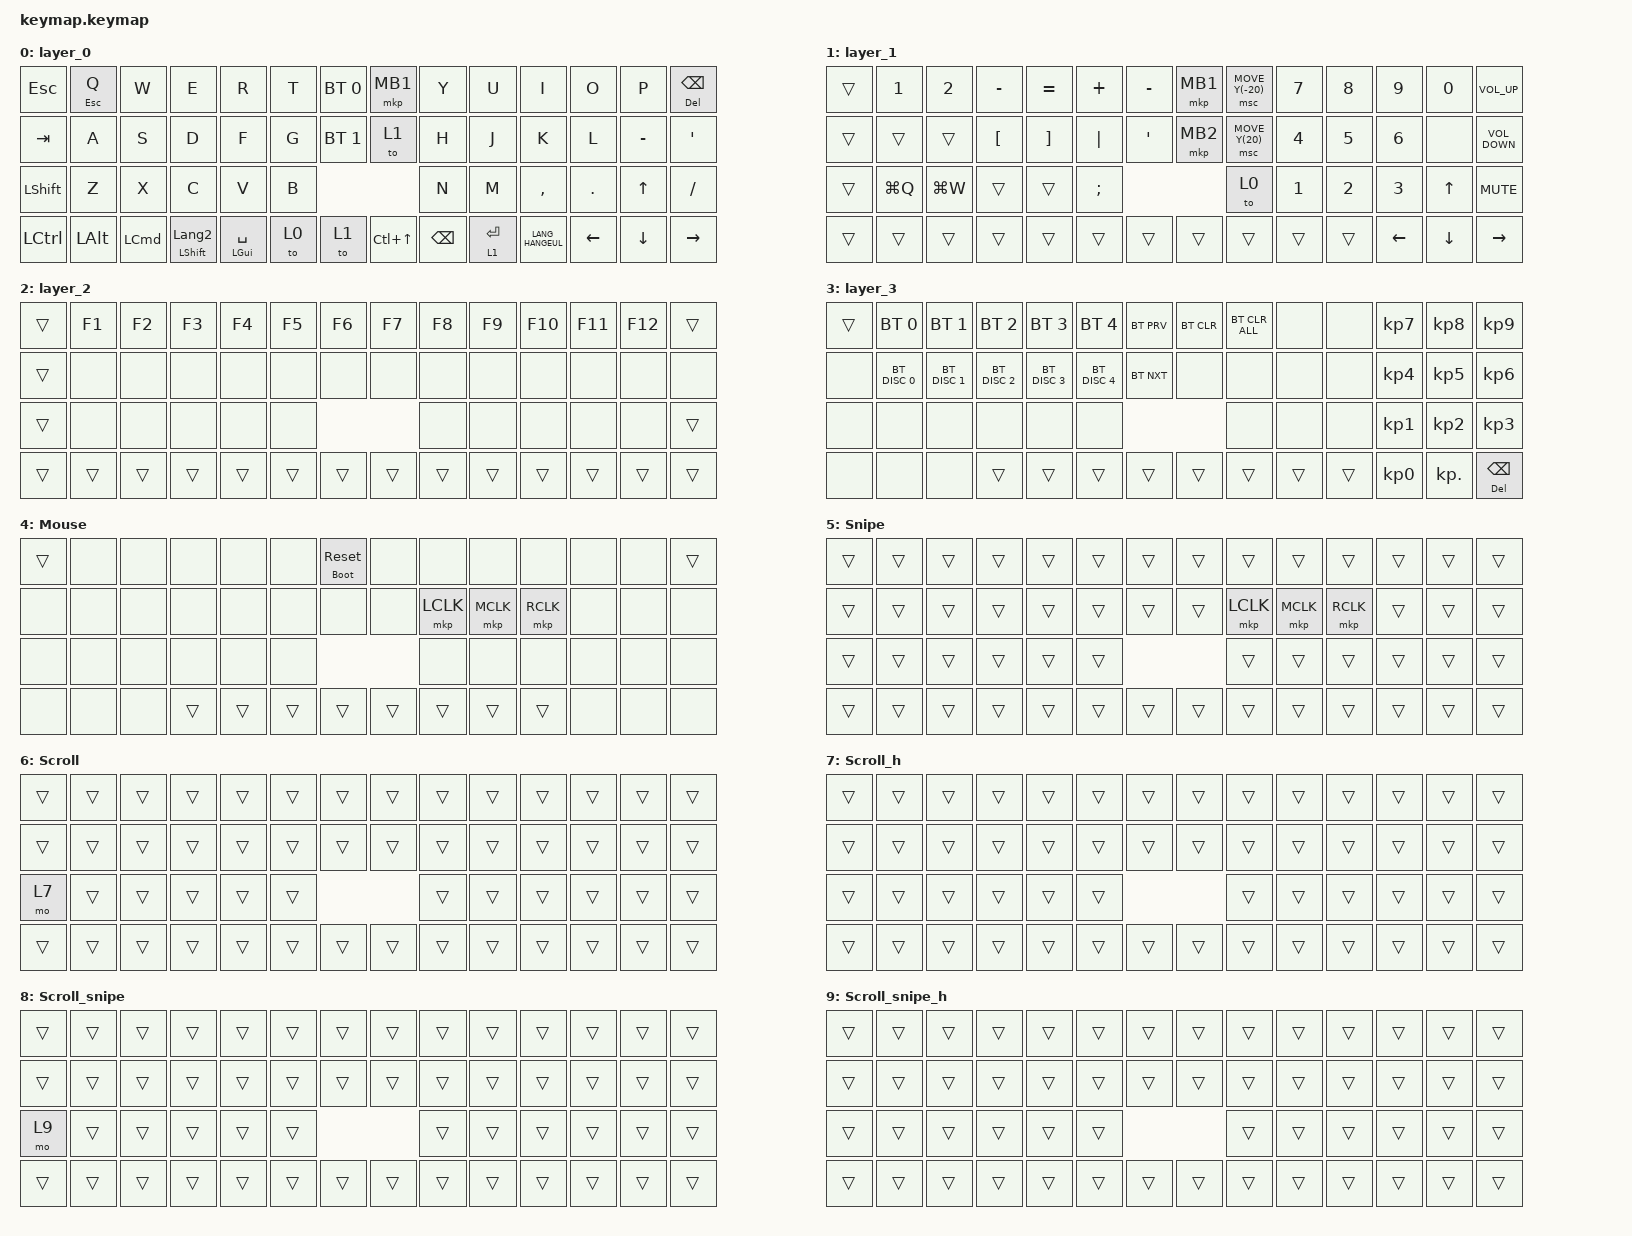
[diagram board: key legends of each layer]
#include <behaviors.dtsi>
#include <dt-bindings/zmk/bt.h>
#include <dt-bindings/zmk/keys.h>
#include <dt-bindings/zmk/pointing.h>

/ {
    behaviors {
        ht_boot_reset: ht_boot_reset {
            compatible = "zmk,behavior-hold-tap";
            label = "HT_BOOT_RESET";
            bindings = <&bootloader>, <&sys_reset>;

            #binding-cells = <2>;
            tapping-term-ms = <1000>;
        };
    };

    combos {
        compatible = "zmk,combos";

        Scroll {
            bindings = <&to 6>;
            key-positions = <50 44>;
        };

        Scroll_snip {
            bindings = <&to 8>;
            key-positions = <50 46>;
        };
    };

    keymap {
        compatible = "zmk,keymap";

        layer_0 {
            bindings = <
&kp ESC           &mt ESCAPE Q  &kp W             &kp E                      &kp R               &kp T  &bt BT_SEL 0  &mkp MB1          &kp Y          &kp U        &kp I             &kp O           &kp P           &mt DELETE BACKSPACE
&kp TAB           &kp A         &kp S             &kp D                      &kp F               &kp G  &bt BT_SEL 1  &to 1             &kp H          &kp J        &kp K             &kp L           &kp MINUS       &kp SQT
&kp LEFT_SHIFT    &kp Z         &kp X             &kp C                      &kp V               &kp B                                  &kp N          &kp M        &kp COMMA         &kp PERIOD      &kp UP_ARROW    &kp SLASH
&kp LEFT_CONTROL  &kp LEFT_ALT  &kp LEFT_COMMAND  &mt LEFT_SHIFT LANGUAGE_2  &mt LEFT_GUI SPACE  &to 0  &to 1         &kp LC(UP_ARROW)  &kp BACKSPACE  &lt 1 ENTER  &kp LANG_HANGEUL  &kp LEFT_ARROW  &kp DOWN_ARROW  &kp RIGHT_ARROW
            >;
        };

        layer_1 {
            bindings = <
&trans  &kp NUMBER_1  &kp NUMBER_2  &kp MINUS         &kp EQUAL          &kp PLUS       &kp MINUS  &mkp MB1  &msc MOVE_Y(-20)  &kp NUMBER_7  &kp NUMBER_8  &kp NUMBER_9    &kp NUMBER_0  &kp C_VOLUME_UP
&trans  &trans        &trans        &kp LEFT_BRACKET  &kp RIGHT_BRACKET  &kp PIPE       &kp SQT    &mkp MB2  &msc MOVE_Y(20)   &kp NUMBER_4  &kp N5        &kp NUMBER_6    &none         &kp C_VOLUME_DOWN
&trans  &kp LG(Q)     &kp LG(W)     &trans            &trans             &kp SEMICOLON                       &to 0             &kp NUMBER_1  &kp NUMBER_2  &kp NUMBER_3    &kp UP_ARROW  &kp K_MUTE
&trans  &trans        &trans        &trans            &trans             &trans         &trans     &trans    &trans            &trans        &trans        &kp LEFT_ARROW  &kp DOWN      &kp RIGHT
            >;
        };

        layer_2 {
            bindings = <
&trans  &kp F1  &kp F2  &kp F3  &kp F4  &kp F5  &kp F6  &kp F7  &kp F8  &kp F9  &kp F10  &kp F11  &kp F12  &trans
&trans  &none   &none   &none   &none   &none   &none   &none   &none   &none   &none    &none    &none    &none
&trans  &none   &none   &none   &none   &none                   &none   &none   &none    &none    &none    &trans
&trans  &trans  &trans  &trans  &trans  &trans  &trans  &trans  &trans  &trans  &trans   &trans   &trans   &trans
            >;
        };

        layer_3 {
            bindings = <
&trans  &bt BT_SEL 0   &bt BT_SEL 1   &bt BT_SEL 2   &bt BT_SEL 3   &bt BT_SEL 4   &bt BT_PRV  &bt BT_CLR  &bt BT_CLR_ALL  &none   &none   &kp KP_NUMBER_7  &kp KP_NUMBER_8  &kp KP_NUMBER_9
&none   &bt BT_DISC 0  &bt BT_DISC 1  &bt BT_DISC 2  &bt BT_DISC 3  &bt BT_DISC 4  &bt BT_NXT  &none       &none           &none   &none   &kp KP_NUMBER_4  &kp KP_NUMBER_5  &kp KP_NUMBER_6
&none   &none          &none          &none          &none          &none                                  &none           &none   &none   &kp KP_NUMBER_1  &kp KP_NUMBER_2  &kp KP_NUMBER_3
&none   &none          &none          &trans         &trans         &trans         &trans      &trans      &trans          &trans  &trans  &kp KP_NUMBER_0  &kp KP_DOT       &mt DELETE BACKSPACE
            >;
        };

        Mouse {
            bindings = <
&trans  &none  &none  &none   &none   &none   &ht_boot_reset 0 0  &none   &none      &none      &none      &none  &none  &trans
&none   &none  &none  &none   &none   &none   &none               &none   &mkp LCLK  &mkp MCLK  &mkp RCLK  &none  &none  &none
&none   &none  &none  &none   &none   &none                               &none      &none      &none      &none  &none  &none
&none   &none  &none  &trans  &trans  &trans  &trans              &trans  &trans     &trans     &trans     &none  &none  &none
            >;
        };

        Snipe {
            bindings = <
&trans  &trans  &trans  &trans  &trans  &trans  &trans  &trans  &trans     &trans     &trans     &trans  &trans  &trans
&trans  &trans  &trans  &trans  &trans  &trans  &trans  &trans  &mkp LCLK  &mkp MCLK  &mkp RCLK  &trans  &trans  &trans
&trans  &trans  &trans  &trans  &trans  &trans                  &trans     &trans     &trans     &trans  &trans  &trans
&trans  &trans  &trans  &trans  &trans  &trans  &trans  &trans  &trans     &trans     &trans     &trans  &trans  &trans
            >;
        };

        Scroll {
            bindings = <
&trans  &trans  &trans  &trans  &trans  &trans  &trans  &trans  &trans  &trans  &trans  &trans  &trans  &trans
&trans  &trans  &trans  &trans  &trans  &trans  &trans  &trans  &trans  &trans  &trans  &trans  &trans  &trans
&mo 7   &trans  &trans  &trans  &trans  &trans                  &trans  &trans  &trans  &trans  &trans  &trans
&trans  &trans  &trans  &trans  &trans  &trans  &trans  &trans  &trans  &trans  &trans  &trans  &trans  &trans
            >;
        };

        Scroll_h {
            bindings = <
&trans  &trans  &trans  &trans  &trans  &trans  &trans  &trans  &trans  &trans  &trans  &trans  &trans  &trans
&trans  &trans  &trans  &trans  &trans  &trans  &trans  &trans  &trans  &trans  &trans  &trans  &trans  &trans
&trans  &trans  &trans  &trans  &trans  &trans                  &trans  &trans  &trans  &trans  &trans  &trans
&trans  &trans  &trans  &trans  &trans  &trans  &trans  &trans  &trans  &trans  &trans  &trans  &trans  &trans
            >;
        };

        Scroll_snipe {
            bindings = <
&trans  &trans  &trans  &trans  &trans  &trans  &trans  &trans  &trans  &trans  &trans  &trans  &trans  &trans
&trans  &trans  &trans  &trans  &trans  &trans  &trans  &trans  &trans  &trans  &trans  &trans  &trans  &trans
&mo 9   &trans  &trans  &trans  &trans  &trans                  &trans  &trans  &trans  &trans  &trans  &trans
&trans  &trans  &trans  &trans  &trans  &trans  &trans  &trans  &trans  &trans  &trans  &trans  &trans  &trans
            >;
        };

        Scroll_snipe_h {
            bindings = <
&trans  &trans  &trans  &trans  &trans  &trans  &trans  &trans  &trans  &trans  &trans  &trans  &trans  &trans
&trans  &trans  &trans  &trans  &trans  &trans  &trans  &trans  &trans  &trans  &trans  &trans  &trans  &trans
&trans  &trans  &trans  &trans  &trans  &trans                  &trans  &trans  &trans  &trans  &trans  &trans
&trans  &trans  &trans  &trans  &trans  &trans  &trans  &trans  &trans  &trans  &trans  &trans  &trans  &trans
            >;
        };
    };
};
